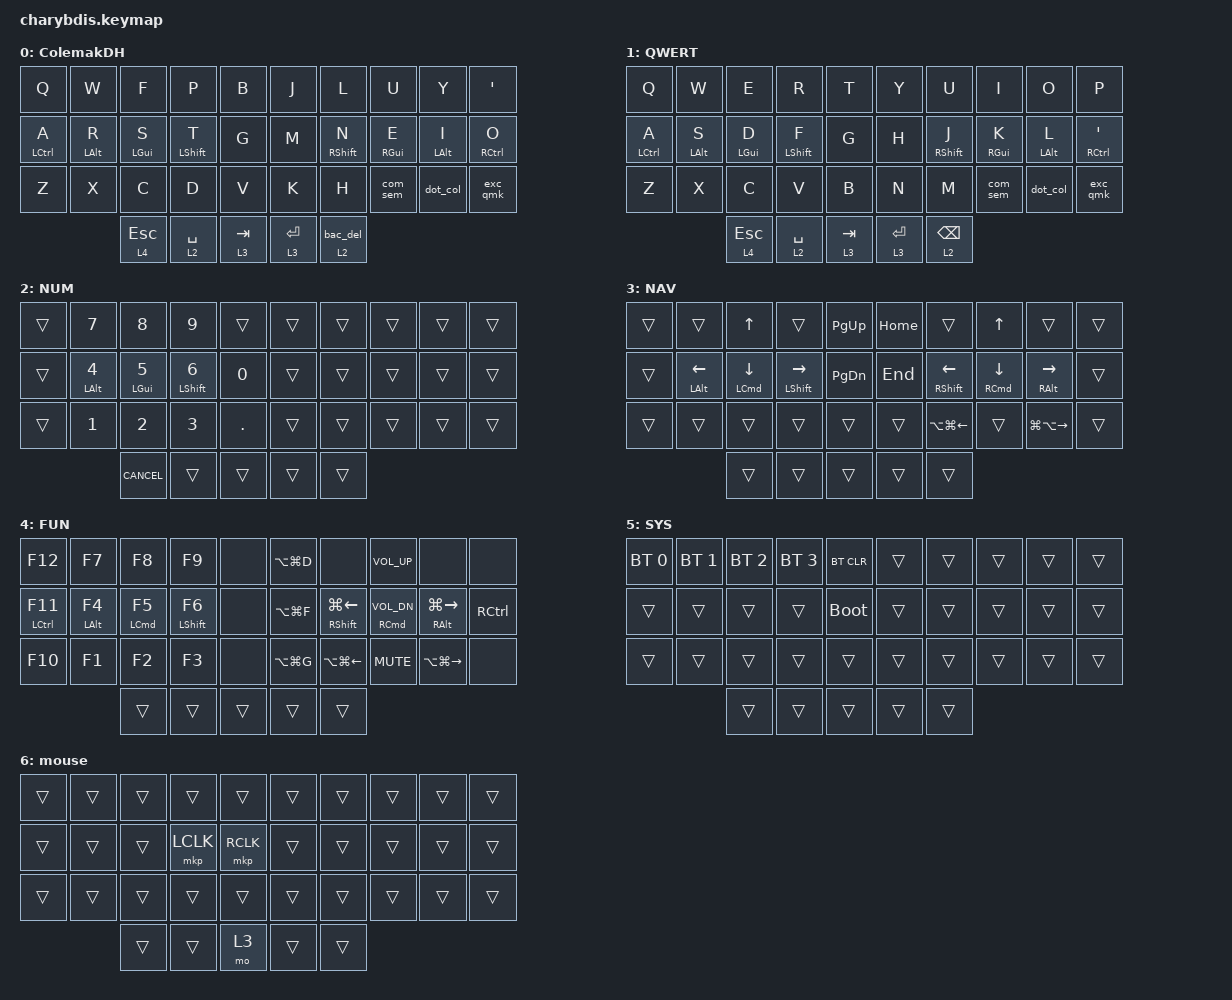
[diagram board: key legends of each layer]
#include <behaviors/num_word.dtsi>
#include <behaviors.dtsi>
#include <dt-bindings/zmk/bt.h>
#include <dt-bindings/zmk/keys.h>
#include <dt-bindings/zmk/pointing.h>

/* Global defaults */

#define REQUIRE_PRIOR_IDLE_MS 150
#define QUICK_TAP_MS 175
#define NUM 2
#define SMART_NUM &smart_num NUM 0
#define CANCEL    &kp K_CANCEL            // Cancel caps-word & auto-layers.

/ {
    behaviors {
        hml: hml {
            compatible = "zmk,behavior-hold-tap";
            label = "HML";
            bindings = <&kp>, <&kp>;

            #binding-cells = <2>;
            tapping-term-ms = <230>;
            quick-tap-ms = <175>;
            flavor = "tap-preferred";
            hold-trigger-on-release;
            hold-trigger-key-positions = <6 7 8 9 18 19 5 15 16 25 27 26 28 29 17 35>;
            require-prior-idle-ms = <350>;
        };

        hmr: hmr {
            compatible = "zmk,behavior-hold-tap";
            label = "HMR";
            bindings = <&kp>, <&kp>;

            #binding-cells = <2>;
            tapping-term-ms = <230>;
            quick-tap-ms = <175>;
            flavor = "tap-preferred";
            hold-trigger-on-release;
            hold-trigger-key-positions = <13 14 2 0 1 3 4 12 11 10 20 21 22 23 24>;
            require-prior-idle-ms = <350>;
        };

        copy_cut: copy_cut {
            compatible = "zmk,behavior-tap-dance";
            label = "COPY_CUT";
            #binding-cells = <0>;
            bindings = <&kp LC(C)>, <&kp LC(X)>;
        };

        lshift_cap: lshift_cap {
            compatible = "zmk,behavior-tap-dance";
            label = "LSHIFT_CAP";
            #binding-cells = <0>;
            bindings = <&kp LSHIFT>, <&caps_word>;
        };

        com_sem: com_sem {
            compatible = "zmk,behavior-mod-morph";
            label = "COM_SEM";
            bindings = <&kp COMMA>, <&kp SEMICOLON>;

            #binding-cells = <0>;
            mods = <(MOD_LSFT|MOD_RSFT)>;
        };

        dot_col: dot_col {
            compatible = "zmk,behavior-mod-morph";
            label = "DOT_COL";
            bindings = <&kp PERIOD>, <&colon_macro>;

            #binding-cells = <0>;
            mods = <(MOD_LSFT|MOD_RSFT)>;
        };

        exc_qmk: exc_qmk {
            compatible = "zmk,behavior-mod-morph";
            label = "EXC_QMK";
            bindings = <&kp EXCL>, <&kp QMARK>;

            #binding-cells = <0>;
            mods = <(MOD_LSFT|MOD_RSFT)>;
        };

        bac_del: bac_del {
            compatible = "zmk,behavior-mod-morph";
            label = "BAC_DEL";
            bindings = <&kp BACKSPACE>, <&kp DEL>;

            #binding-cells = <0>;
            mods = <(MOD_LSFT|MOD_RSFT)>;
            keep-mods = <(MOD_RSFT)>;
        };

        rshift_cap: rshift_cap {
            compatible = "zmk,behavior-tap-dance";
            label = "RSHIFT_CAP";
            #binding-cells = <0>;
            bindings = <&kp RIGHT_SHIFT>, <&caps_word>;
        };

        ltm: ltm {
            compatible = "zmk,behavior-hold-tap";
            label = "LTM";
            bindings = <&mo>, <&kp>;

            #binding-cells = <2>;
            tapping-term-ms = <200>;
            quick-tap-ms = <175>;
            flavor = "balanced";
            hold-trigger-on-release;
            require-prior-idle-ms = <0>;
        };

        hmsl: hmsl {
            compatible = "zmk,behavior-hold-tap";
            label = "HMSL";
            bindings = <&kp>, <&kp>;

            #binding-cells = <2>;
            tapping-term-ms = <220>;
            quick-tap-ms = <175>;
            flavor = "hold-preferred";
            hold-trigger-on-release;
            hold-trigger-key-positions = <6 7 8 9 18 19 33 34 5 15 25 16 17 35 26 27 28 29>;
            require-prior-idle-ms = <140>;
        };

        hmsr: hmsr {
            compatible = "zmk,behavior-hold-tap";
            label = "HMSR";
            bindings = <&kp>, <&kp>;

            #binding-cells = <2>;
            tapping-term-ms = <220>;
            quick-tap-ms = <175>;
            flavor = "hold-preferred";
            hold-trigger-on-release;
            hold-trigger-key-positions = <28 32 31 30 24 23 22 20 21 10 0 1 12 2 11 13 3 4 14>;
            require-prior-idle-ms = <140>;
        };

        lpar_less: lpar_less {
            compatible = "zmk,behavior-mod-morph";
            label = "LPAR_LESS";
            bindings = <&kp LEFT_PARENTHESIS>, <&kp LESS_THAN>;

            #binding-cells = <0>;
            mods = <(MOD_LSFT|MOD_RSFT)>;
        };

        rpar_greater: rpar_greater {
            compatible = "zmk,behavior-mod-morph";
            label = "RPAR_GREATER";
            bindings = <&kp RIGHT_PARENTHESIS>, <&kp GREATER_THAN>;

            #binding-cells = <0>;
            mods = <(MOD_LSFT|MOD_RSFT)>;
        };

        slash_bslash: slash_bslash {
            compatible = "zmk,behavior-mod-morph";
            label = "SLASH_BSLASH";
            bindings = <&kp SLASH>, <&kp BACKSLASH>;

            #binding-cells = <0>;
            mods = <(MOD_LSFT|MOD_RSFT)>;
        };

        ltm2: ltm2 {
            compatible = "zmk,behavior-hold-tap";
            label = "LTM2";
            bindings = <&mo>, <&bac_del>;

            #binding-cells = <2>;
            tapping-term-ms = <280>;
            quick-tap-ms = <175>;
            flavor = "balanced";
            hold-trigger-on-release;
            require-prior-idle-ms = <150>;
        };

        num_dance: num_dance {
            compatible = "zmk,behavior-tap-dance";
            label = "ZMK_TAP_DANCE";
            #binding-cells = <0>;
            bindings = <&bac_del>, <&num_word 2>;
        };

        smart_num: smart_num {
            compatible = "zmk,behavior-hold-tap";
            tapping-term-ms = <200>;
            quick-tap-ms = <175>;
            flavor = "balanced";
            #binding-cells = <2>;
            bindings = <&mo>, <&num_dance>;
        };

        tsr: tsr {
            compatible = "zmk,behavior-hold-tap";
            label = "TSR";
            bindings = <&kp>, <&kp>;

            #binding-cells = <2>;
            tapping-term-ms = <200>;
            quick-tap-ms = <175>;
            flavor = "hold-preferred";
            hold-trigger-on-release;
            require-prior-idle-ms = <0>;
        };
    };

    combos {
        compatible = "zmk,combos";

        ESC_COMBO {
            bindings = <&gresc>;
            key-positions = <1 0>;
        };

        FIND_COMBOS {
            bindings = <&kp LC(F)>;
            key-positions = <20 2>;
        };

        SAVE_COMBOS {
            bindings = <&kp LC(S)>;
            key-positions = <20 12>;
        };

        win_copy {
            bindings = <&copy_cut>;
            key-positions = <20 22>;
        };

        SELECT_ALL_COMBOS {
            bindings = <&kp LC(A)>;
            key-positions = <20 10>;
        };

        PASTE_COMBOS {
            bindings = <&kp LC(V)>;
            key-positions = <20 24>;
        };

        wm_12 {
            bindings = <&kp LA(LG(E))>;
            key-positions = <5 15>;
            layers = <4>;
        };

        wm_23 {
            bindings = <&kp LA(LG(T))>;
            key-positions = <15 25>;
            layers = <4>;
        };

        left_par {
            bindings = <&lpar_less>;
            key-positions = <16 17>;
            require-prior-idle-ms = <150>;
        };

        r_par {
            bindings = <&rpar_greater>;
            key-positions = <17 18>;
            require-prior-idle-ms = <150>;
        };

        l_br {
            bindings = <&kp LEFT_BRACKET>;
            key-positions = <6 7>;
            require-prior-idle-ms = <150>;
        };

        r_br {
            bindings = <&kp RIGHT_BRACKET>;
            key-positions = <7 8>;
            require-prior-idle-ms = <150>;
        };

        plus {
            bindings = <&kp KP_PLUS>;
            key-positions = <6 16>;
            require-prior-idle-ms = <150>;
        };

        minus {
            bindings = <&kp MINUS>;
            key-positions = <16 26>;
            require-prior-idle-ms = <150>;
        };

        star {
            bindings = <&kp STAR>;
            key-positions = <7 17>;
            require-prior-idle-ms = <150>;
        };

        spl {
            bindings = <&slash_bslash>;
            key-positions = <17 27>;
        };

        and {
            bindings = <&kp AMPERSAND>;
            key-positions = <5 15>;
            require-prior-idle-ms = <150>;
        };

        or {
            bindings = <&kp PIPE>;
            key-positions = <15 25>;
        };

        equ {
            bindings = <&kp EQUAL>;
            key-positions = <8 18>;
            layers = <0 2>;
        };

        under_sc {
            bindings = <&kp UNDER>;
            key-positions = <28 18>;
        };

        grave_combos {
            bindings = <&kp GRAVE>;
            key-positions = <13 23>;
            require-prior-idle-ms = <150>;
        };

        at_combos {
            bindings = <&kp AT_SIGN>;
            key-positions = <1 11>;
            require-prior-idle-ms = <150>;
        };

        hash_combos {
            bindings = <&kp HASH>;
            key-positions = <2 12>;
            require-prior-idle-ms = <150>;
        };

        dollor_combos {
            bindings = <&kp DOLLAR>;
            key-positions = <3 13>;
            require-prior-idle-ms = <150>;
        };

        percent_combos {
            bindings = <&kp PERCENT>;
            key-positions = <11 21>;
            require-prior-idle-ms = <150>;
        };

        hat_combos {
            bindings = <&kp CARET>;
            key-positions = <12 22>;
            require-prior-idle-ms = <150>;
        };

        screenshot {
            bindings = <&kp LG(LC(LS(N4)))>;
            key-positions = <11 12 13 31>;
        };

        undo_com {
            bindings = <&kp LC(Z)>;
            key-positions = <20 21>;
        };

        cap {
            bindings = <&caps_word>;
            key-positions = <20 29>;
        };

        paste2 {
            bindings = <&kp LC(V)>;
            key-positions = <20 23>;
        };

        newtab {
            bindings = <&kp LC(T)>;
            key-positions = <13 20>;
            require-prior-idle-ms = <300>;
        };

        swith_position {
            bindings = <&tog 1>;
            key-positions = <24 25>;
        };

        find3 {
            bindings = <&kp LC(F)>;
            key-positions = <2 10>;
            require-prior-idle-ms = <300>;
        };

        save2 {
            bindings = <&kp LC(S)>;
            key-positions = <10 12>;
            require-prior-idle-ms = <300>;
        };

        func_spa1 {
            bindings = <&kp LC(SPACE)>;
            key-positions = <19 31>;
        };

        func_spa2 {
            bindings = <&kp LC(SPACE)>;
            key-positions = <31 10>;
        };

        enter_comb {
            bindings = <&kp ENTER>;
            key-positions = <29 28>;
        };

        tab_combo {
            bindings = <&mo 5>;
            key-positions = <30 31>;
        };

        mrclk {
            bindings = <&mkp RCLK>;
            key-positions = <21 22>;
        };

        mlclk {
            bindings = <&mkp LCLK>;
            key-positions = <22 23>;
        };

        rmlck {
            bindings = <&mkp LCLK>;
            key-positions = <26 27>;
        };

        rmrck {
            bindings = <&mkp RCLK>;
            key-positions = <27 28>;
        };
    };

    macros {
        mac_save: mac_save {
            compatible = "zmk,behavior-macro";
            #binding-cells = <0>;
            bindings = <&none>, <&macro_press>;

            label = "MAC_SAVE";
        };

        colon_macro: colon_macro {
            compatible = "zmk,behavior-macro";
            #binding-cells = <0>;
            bindings
                = <&macro_release &kp LSHFT &kp RSHFT>
                , <&macro_tap &kp LS(SEMI)>
                ;
        };
    };

    keymap {
        compatible = "zmk,keymap";

        base_layer {
            label = "ColemakDH";
            bindings = <
&kp Q         &kp W        &kp F          &kp P               &kp B         &kp J         &kp L                &kp U        &kp Y        &kp SQT
&hml LCTRL A  &hml LALT R  &hml LGUI S    &hmsl LEFT_SHIFT T  &kp G         &kp M         &hmsr RIGHT_SHIFT N  &hmr RGUI E  &hmr LALT I  &hmr RCTRL O
&kp Z         &kp X        &kp C          &kp D               &kp V         &kp K         &kp H                &com_sem     &dot_col     &exc_qmk
                           &ltm 4 ESCAPE  &ltm 2 SPACE        &ltm 3 TAB    &ltm 3 ENTER  &ltm2 2 0
            >;
        };

        qwert_layer {
            label = "QWERT";
            bindings = <
&kp Q         &kp W        &kp E          &kp R              &kp T         &kp Y         &kp U               &kp I        &kp O        &kp P
&hml LCTRL A  &hml LALT S  &hml LGUI D    &hml LEFT_SHIFT F  &kp G         &kp H         &hmr RIGHT_SHIFT J  &hmr RGUI K  &hmr LALT L  &hmr RCTRL SQT
&kp Z         &kp X        &kp C          &kp V              &kp B         &kp N         &kp M               &com_sem     &dot_col     &exc_qmk
                           &ltm 4 ESCAPE  &ltm 2 SPACE       &ltm 3 TAB    &ltm 3 ENTER  &ltm 2 BACKSPACE
            >;
        };

        num_layer {
            label = "NUM";
            bindings = <
&trans  &kp N7              &kp N8        &kp N9         &trans        &trans  &trans  &trans  &trans  &trans
&trans  &hml LALT NUMBER_4  &hml LGUI N5  &hml LSHFT N6  &kp N0        &trans  &trans  &trans  &trans  &trans
&trans  &kp N1              &kp N2        &kp N3         &kp PERIOD    &trans  &trans  &trans  &trans  &trans CANCEL
                            &trans        &trans         &trans        &trans
            >;
        };

        nav_layer {
            bindings = <
&trans  &trans          &kp UP_ARROW    &trans            &kp PG_UP    &kp HOME  &trans            &kp UP_ARROW          &trans             &trans
&trans  &hml LALT LEFT  &hml LCMD DOWN  &hml LSHFT RIGHT  &kp PG_DN    &kp END   &hmr RSHFT LEFT   &hmr RCMD DOWN_ARROW  &hmr RALT RIGHT    &trans
&trans  &trans          &trans          &trans            &trans       &trans    &kp LA(LG(LEFT))  &trans                &kp LG(LA(RIGHT))  &trans
                        &trans          &trans            &trans       &trans    &trans
            >;

            label = "NAV";
        };

        fn_layer {
            bindings = <
&kp F12                &kp F7        &kp F8        &kp F9         &none     &kp LA(LG(D))  &none                   &kp C_VOLUME_UP     &none                &none
&hml LEFT_CONTROL F11  &hml LALT F4  &hml LCMD F5  &hml LSHFT F6  &none     &kp LA(LG(F))  &hmr RSHFT LG(LEFT)     &hmr RCMD C_VOL_DN  &hmr RALT LG(RIGHT)  &kp RCTRL
&kp F10                &kp F1        &kp F2        &kp F3         &none     &kp LA(LG(G))  &kp LA(LG(LEFT_ARROW))  &kp C_MUTE          &kp LA(LG(RIGHT))    &none
                                     &trans        &trans         &trans    &trans         &trans
            >;

            label = "FUN";
        };

        sys_layer {
            bindings = <
&bt BT_SEL 0  &bt BT_SEL 1  &bt BT_SEL 2  &bt BT_SEL 3  &bt BT_CLR     &trans  &trans  &trans  &trans  &trans
&trans        &trans        &trans        &trans        &bootloader    &trans  &trans  &trans  &trans  &trans
&trans        &trans        &trans        &trans        &trans         &trans  &trans  &trans  &trans  &trans
                            &trans        &trans        &trans         &trans  &trans
            >;

            label = "SYS";
        };

        mouse {
            bindings = <
&trans  &trans  &trans  &trans     &trans       &trans  &trans  &trans  &trans  &trans
&trans  &trans  &trans  &mkp LCLK  &mkp RCLK    &trans  &trans  &trans  &trans  &trans
&trans  &trans  &trans  &trans     &trans       &trans  &trans  &trans  &trans  &trans
                &trans  &trans     &mo 3        &trans  &trans
            >;
        };
    };
};
